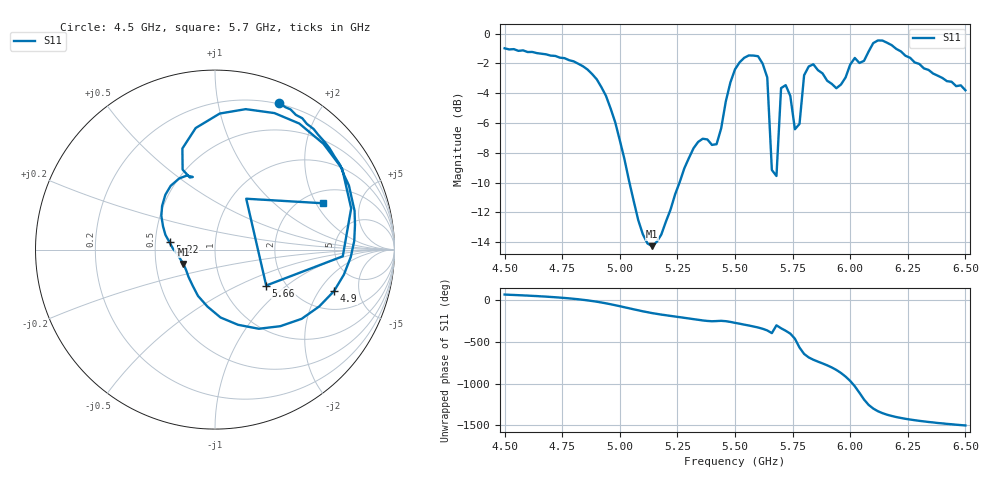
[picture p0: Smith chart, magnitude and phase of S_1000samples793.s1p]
! TOUCHSTONE file generated by CST MICROWAVE STUDIO
! Date and time: Sat Oct 29 09:57:20 2022
! Project name: L.cst
! Parameters = {Di=1.27; Epsilon_r=1.56; InnerDiameter=1.27; Length=2; Lf=10; Lg=60; OuterConductorThickness=0.2921; OuterDiameter=3.6; Wf=3; Wp=41.2; de=1.5; df=6.8; g=0.8; gx=3.71894; gy=1.20603; h=2.34; hf=1.524; px=11.8757; py=14.2786; w=9.7; wx=8.1568; wy=13.0725}
! Header version: 2018
! Port assignment regex: !\s*Touchstone port\s*([0-9]+)\s*=\s*(CST MWS port|CST DS port)\s*([0-9]+|Zmin|Zmax)\s*\(\"(.*)\"\)(\s*mode\s*([0-9]+))?.*
! Touchstone port assignment:
! Touchstone port 1 = CST MWS port 1 ("")
# GHz S DB R 50
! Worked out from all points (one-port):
!   101 points, 4.5 GHz to 6.5 GHz, reference 50 ohm
!   lowest |S11| = -14.3 dB at 5.14 GHz (marker M1), VSWR 1.48, Z = 34.6 - j5.77 ohm
!   |S11| at or under -10 dB: 5.042 GHz to 5.259 GHz (217.5 MHz wide, 4.22 % of centre)
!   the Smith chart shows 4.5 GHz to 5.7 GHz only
!   S11 on the Smith chart (normalised r, x): 4.5 GHz: 0.19, +1.51; 4.9 GHz: 3.04, -2.77; 5.22 GHz: 0.59, +0.05; 5.66 GHz: 1.59, -0.73; 5.7 GHz: 2.54, +2.31
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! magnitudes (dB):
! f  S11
! 4.5 GHz  -1.0
! 4.76 GHz  -1.6
! 4.9 GHz  -3.1
! 5 GHz  -7.2
! 5.08 GHz  -12.5
! 5.14 GHz  -14.3
! 5.22 GHz  -11.8
! 5.26 GHz  -10.0
! 5.34 GHz  -7.3
! 5.42 GHz  -7.4
! 5.5 GHz  -2.4
! 5.56 GHz  -1.5
! 5.62 GHz  -2.0
! 5.64 GHz  -2.9
! 5.66 GHz  -9.2
! 5.68 GHz  -9.6
! 5.7 GHz  -3.7
! 5.74 GHz  -4.2
! 5.76 GHz  -6.4
! 5.78 GHz  -6.1
! 5.8 GHz  -2.8
! 5.82 GHz  -2.2
! 5.94 GHz  -3.7
! 6 GHz  -2.1
! 6.06 GHz  -1.8
! 6.12 GHz  -0.5
! 6.26 GHz  -1.6
! 6.5 GHz  -3.8
